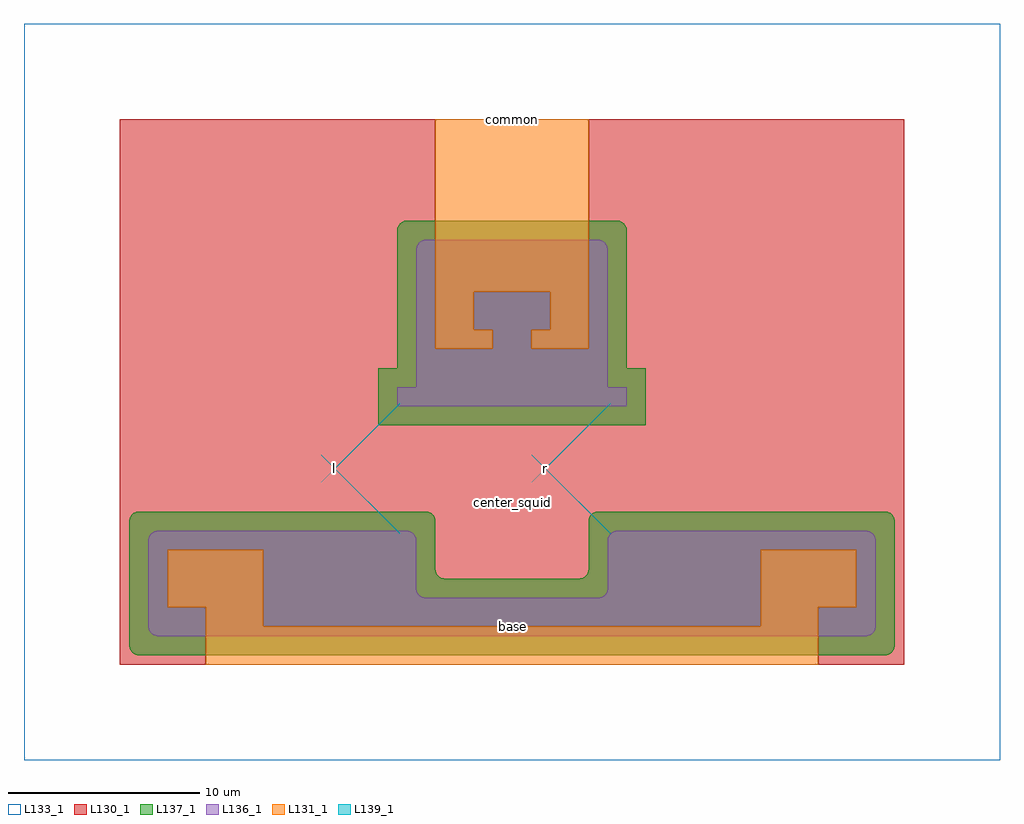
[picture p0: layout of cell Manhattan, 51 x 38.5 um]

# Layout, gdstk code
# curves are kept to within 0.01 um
import gdstk
lib = gdstk.Library(unit=1e-6, precision=1e-09)
def R(c, l, rs):  # rectangles x0, y0, x1, y1
    for r in rs: c.add(gdstk.rectangle(r[:2], r[2:], *l))
def P(c, l, *ps):  # polygons
    for p in ps: c.add(gdstk.Polygon(p, *l))
L130_1 = (130, 1)
L131_1 = (131, 1)
L133_1 = (133, 1)
L136_1 = (136, 1)
L137_1 = (137, 1)
L139_1 = (139, 1)

manhattan = lib.new_cell('Manhattan')
P(manhattan, L130_1, [(-20.5,-2),(-20.5,26.5),(-4,26.5),(-4,14.5),(-1,14.5),(-1,15.5),(-2,15.5),(-2,17.5),(2,17.5),(2,15.5),(1,15.5),(1,14.5),(4,14.5),(4,26.5),(20.5,26.5),(20.5,-2),(16,-2),(16,1),(18,1),(18,4),(13,4),(13,0),(-13,0),(-13,4),(-18,4),(-18,1),(-16,1),(-16,-2)])
P(manhattan, L131_1, [(-16,-2),(-16,1),(-18,1),(-18,4),(-13,4),(-13,0),(13,0),(13,4),(18,4),(18,1),(16,1),(16,-2)],
  [(-4,14.5),(-4,26.5),(4,26.5),(4,14.5),(1,14.5),(1,15.5),(2,15.5),(2,17.5),(-2,17.5),(-2,15.5),(-1,15.5),(-1,14.5)])
R(manhattan, L133_1, [(-25.5,-7,25.5,31.5)])
P(manhattan, L136_1, [(-18.525,-0.5),(-18.714,-0.453),(-18.836,-0.371),(-18.953,-0.214),(-19,-0.025),(-19,4.525),(-18.953,4.714),(-18.871,4.836),(-18.714,4.953),(-18.573,4.995),(-5.475,5),(-5.378,4.986),(-5.243,4.929),(-5.129,4.836),(-5.047,4.714),(-5.005,4.573),(-5,1.975),(-4.986,1.878),(-4.929,1.743),(-4.836,1.629),(-4.714,1.547),(-4.525,1.5),(4.525,1.5),(4.669,1.529),(4.798,1.598),(4.871,1.664),(4.953,1.786),(4.995,1.927),(5,4.525),(5.014,4.622),(5.071,4.757),(5.164,4.871),(5.286,4.953),(5.427,4.995),(18.525,5),(18.714,4.953),(18.836,4.871),(18.953,4.714),(18.995,4.573),(19,-0.025),(18.953,-0.214),(18.871,-0.336),(18.714,-0.453),(18.573,-0.495)],
  [(-6,11.5),(-6,12.5),(-5,12.5),(-5,19.725),(-4.953,19.914),(-4.871,20.036),(-4.798,20.102),(-4.669,20.171),(-4.525,20.2),(4.525,20.2),(4.714,20.153),(4.836,20.071),(4.902,19.998),(4.971,19.869),(5,19.725),(5,12.5),(6,12.5),(6,11.5)])
P(manhattan, L137_1, [(-19.525,-1.5),(-19.714,-1.453),(-19.836,-1.371),(-19.953,-1.214),(-20,-1.025),(-20,5.525),(-19.953,5.714),(-19.871,5.836),(-19.714,5.953),(-19.573,5.995),(-4.475,6),(-4.378,5.986),(-4.243,5.929),(-4.129,5.836),(-4.047,5.714),(-4.005,5.573),(-4,2.975),(-3.986,2.878),(-3.929,2.743),(-3.836,2.629),(-3.714,2.547),(-3.525,2.5),(3.525,2.5),(3.714,2.547),(3.836,2.629),(3.902,2.702),(3.971,2.831),(4,2.975),(4,5.525),(4.014,5.622),(4.071,5.757),(4.164,5.871),(4.286,5.953),(4.427,5.995),(19.525,6),(19.714,5.953),(19.836,5.871),(19.953,5.714),(19.995,5.573),(20,-1.025),(19.953,-1.214),(19.871,-1.336),(19.714,-1.453),(19.573,-1.495)],
  [(-7,10.5),(-7,13.5),(-6,13.5),(-6,20.725),(-5.953,20.914),(-5.836,21.071),(-5.714,21.153),(-5.525,21.2),(5.525,21.2),(5.714,21.153),(5.871,21.036),(5.953,20.914),(6,20.725),(6,13.5),(7,13.5),(7,10.5)])
P(manhattan, L139_1, [(-5.859,4.844),(-9.25,8.236),(-9.957,7.529),(-9.971,7.543),(-9.264,8.25),(-9.971,8.957),(-9.957,8.971),(-9.25,8.264),(-5.859,11.656),(-5.844,11.641),(-9.236,8.25),(-5.844,4.859)],
  [(5.141,4.844),(1.75,8.236),(1.043,7.529),(1.029,7.543),(1.736,8.25),(1.029,8.957),(1.043,8.971),(1.75,8.264),(5.141,11.656),(5.156,11.641),(1.764,8.25),(5.156,4.859)])
manhattan.add(gdstk.Label('common', (0,26.5), layer=154, texttype=1))
manhattan.add(gdstk.Label('base', (0,0), layer=225, texttype=0))
manhattan.add(gdstk.Label('l', (-9.25,8.25), layer=225, texttype=0))
manhattan.add(gdstk.Label('r', (1.75,8.25), layer=225, texttype=0))
manhattan.add(gdstk.Label('origin_squid', (0,0), layer=225, texttype=0))
manhattan.add(gdstk.Label('center_squid', (0,6.5), layer=225, texttype=0))
manhattan.add(gdstk.Label('port_common', (0,26.5), layer=225, texttype=0))

lib.write_gds('Manhattan.gds')
